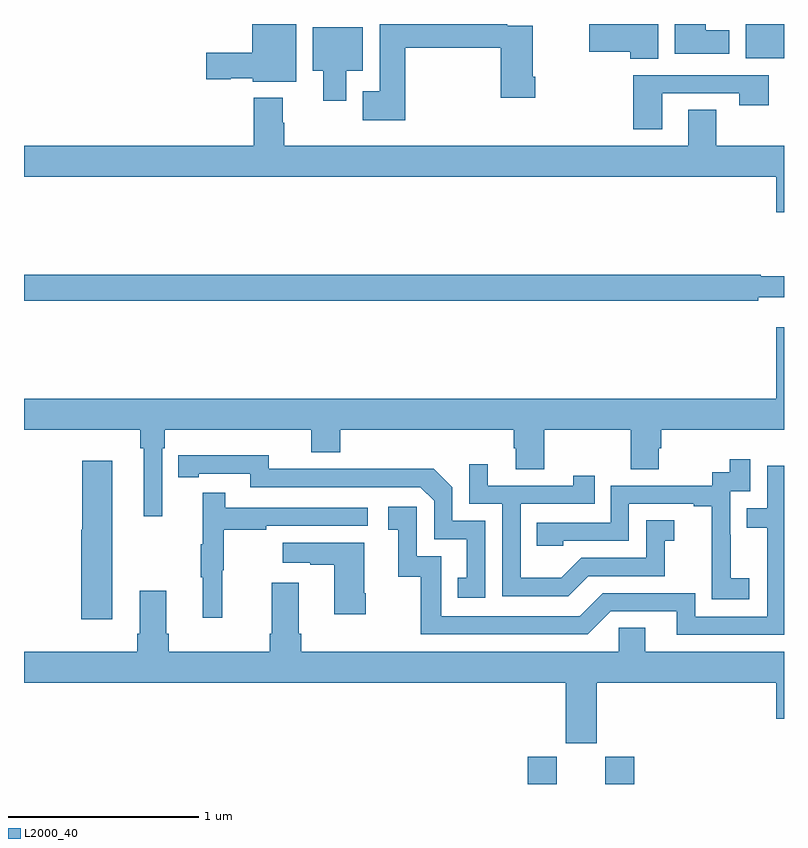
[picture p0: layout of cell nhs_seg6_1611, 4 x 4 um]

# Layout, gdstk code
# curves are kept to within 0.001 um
import gdstk
lib = gdstk.Library(unit=1e-6, precision=1e-09)
def R(c, l, rs):  # rectangles x0, y0, x1, y1
    for r in rs: c.add(gdstk.rectangle(r[:2], r[2:], *l))
def P(c, l, *ps):  # polygons
    for p in ps: c.add(gdstk.Polygon(p, *l))
L2000_40 = (2000, 40)

nhs_seg6_1611 = lib.new_cell('nhs_seg6_1611')
R(nhs_seg6_1611, L2000_40, [(211.652,917.5,211.804,917.643), (212.06,917.5,212.213,917.643), (212.798,921.32,213,921.5)])
P(nhs_seg6_1611, L2000_40, [(212.713,921.466),(212.587,921.466),(212.587,921.5),(212.426,921.5),(212.426,921.344),(212.713,921.344)],
  [(210.433,921.5),(210.2,921.5),(210.2,921.35),(209.958,921.35),(209.958,921.208),(210.087,921.208),(210.087,921.215),(210.204,921.215),(210.204,921.197),(210.433,921.197)],
  [(212.338,921.5),(211.974,921.5),(211.974,921.353),(212.192,921.353),(212.192,921.316),(212.338,921.316)],
  [(211.007,921.376),(211.508,921.376),(211.508,921.111),(211.691,921.111),(211.691,921.223),(211.678,921.223),(211.678,921.492),(211.544,921.492),(211.544,921.5),(210.872,921.5),(210.872,921.145),(210.782,921.145),(210.782,920.993),(211.007,920.993)],
  [(210.697,921.254),(210.784,921.254),(210.784,921.484),(210.521,921.484),(210.521,921.254),(210.575,921.254),(210.575,921.096),(210.697,921.096)],
  [(212.359,921.135),(212.764,921.135),(212.764,921.072),(212.92,921.072),(212.92,921.231),(212.207,921.231),(212.207,920.946),(212.359,920.946)],
  [(213,920.86),(212.643,920.86),(212.643,921.05),(212.495,921.05),(212.495,920.86),(210.369,920.86),(210.369,920.981),(210.361,920.981),(210.361,921.112),(210.209,921.112),(210.209,920.86),(209,920.86),(209,920.696),(212.96,920.696),(212.96,920.508),(213,920.508)],
  [(212.864,920.063),(213,920.063),(213,920.173),(212.878,920.173),(212.878,920.18),(209,920.18),(209,920.044),(212.864,920.044)],
  [(209.727,919.268),(209.741,919.268),(209.741,919.364),(210.512,919.364),(210.512,919.247),(210.665,919.247),(210.665,919.364),(211.577,919.364),(211.577,919.266),(211.589,919.266),(211.589,919.156),(211.737,919.156),(211.737,919.364),(212.194,919.364),(212.194,919.156),(212.341,919.156),(212.341,919.266),(212.354,919.266),(212.354,919.364),(213,919.364),(213,919.903),(212.96,919.903),(212.96,919.528),(209,919.528),(209,919.364),(209.611,919.364),(209.611,919.268),(209.63,919.268),(209.63,918.909),(209.727,918.909)],
  [(211.428,918.885),(211.254,918.885),(211.254,919.062),(211.156,919.16),(210.748,919.16),(210.748,919.158),(210.288,919.158),(210.288,919.231),(209.812,919.23),(209.812,919.114),(209.92,919.114),(209.92,919.134),(210.192,919.134),(210.192,919.062),(211.086,919.062),(211.158,918.99),(211.158,918.789),(211.331,918.789),(211.331,918.585),(211.282,918.585),(211.282,918.48),(211.428,918.48)],
  [(212.818,918.583),(212.72,918.583),(212.72,918.812),(212.718,918.812),(212.718,919.041),(212.823,919.041),(212.823,919.21),(212.715,919.21),(212.715,919.14),(212.622,919.14),(212.622,919.071),(212.088,919.071),(212.088,918.876),(211.699,918.876),(211.699,918.753),(211.839,918.753),(211.839,918.78),(212.184,918.78),(212.184,918.975),(212.525,918.975),(212.525,918.963),(212.621,918.963),(212.621,918.679),(212.62,918.679),(212.62,918.473),(212.818,918.473)],
  [(209.464,919.201),(209.306,919.201),(209.306,918.837),(209.3,918.837),(209.3,918.366),(209.464,918.366)],
  [(211.969,918.594),(212.373,918.594),(212.373,918.779),(212.422,918.779),(212.422,918.889),(212.274,918.889),(212.274,918.69),(211.932,918.69),(211.828,918.586),(211.614,918.586),(211.614,918.975),(212.003,918.975),(212.003,919.123),(211.892,919.123),(211.892,919.071),(211.441,919.071),(211.441,919.183),(211.344,919.183),(211.344,918.975),(211.518,918.975),(211.518,918.489),(211.864,918.489)],
  [(213,919.176),(212.913,919.176),(212.913,918.951),(212.803,918.951),(212.803,918.85),(212.913,918.85),(212.913,918.381),(212.532,918.381),(212.532,918.504),(212.046,918.504),(211.926,918.384),(211.197,918.384),(211.197,918.699),(211.068,918.699),(211.068,918.958),(210.918,918.958),(210.918,918.837),(210.971,918.837),(210.971,918.591),(211.089,918.591),(211.089,918.288),(211.968,918.288),(212.088,918.408),(212.435,918.408),(212.435,918.285),(213,918.285)],
  [(210.044,918.624),(210.052,918.624),(210.052,918.838),(210.275,918.838),(210.275,918.858),(210.808,918.858),(210.808,918.954),(210.059,918.954),(210.059,919.033),(209.942,919.033),(209.942,918.761),(209.931,918.761),(209.931,918.587),(209.942,918.587),(209.942,918.375),(210.044,918.375)],
  [(210.798,918.505),(210.79,918.505),(210.79,918.769),(210.363,918.769),(210.363,918.665),(210.506,918.665),(210.506,918.655),(210.632,918.655),(210.632,918.393),(210.798,918.393)],
  [(212.014,918.032),(212.96,918.032),(212.96,917.844),(213,917.844),(213,918.196),(212.269,918.196),(212.269,918.323),(212.13,918.323),(212.13,918.196),(210.458,918.196),(210.458,918.292),(210.445,918.292),(210.445,918.559),(210.305,918.559),(210.305,918.292),(210.293,918.292),(210.293,918.196),(209.762,918.196),(209.762,918.292),(209.749,918.292),(209.749,918.517),(209.609,918.517),(209.609,918.292),(209.597,918.292),(209.597,918.196),(209,918.196),(209,918.032),(211.85,918.032),(211.85,917.715),(212.014,917.715)])

lib.write_gds('nhs_seg6_1611.gds')
